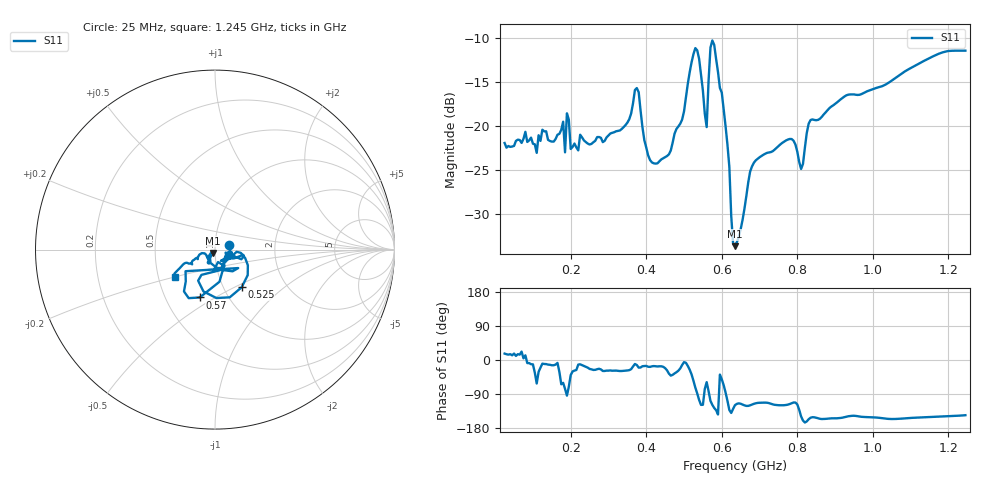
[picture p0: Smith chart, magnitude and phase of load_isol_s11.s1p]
!Created with skrf (http://scikit-rf.org).
# Hz S RI R 50.0
!freq ReS11 ImS11
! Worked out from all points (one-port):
!   245 points, 25 MHz to 1.245 GHz, reference 50 ohm
!   lowest |S11| = -33.6 dB at 635 MHz (marker M1), VSWR 1.04, Z = 49 - j1.79 ohm
!   |S11| at or under -10 dB: start of sweep to end of sweep
!   S11 on the Smith chart (normalised r, x): 25 MHz: 1.17, +0.05; 525 MHz: 1.21, -0.55; 570 MHz: 0.74, -0.43; 1.245 GHz: 0.61, -0.20
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2.5e7  0.077 0.0234
1.1e8  0.0332 -0.0624
1.8e8  0.0526 -0.0923
1.85e8  0.0169 -0.0692
1.9e8  -0.00829 -0.1183
2e8  0.0571 -0.0476
3.3e8  0.0828 -0.0461
3.75e8  0.1606 -0.0377
4.15e8  0.0598 -0.0179
4.85e8  0.088 -0.0472
5.05e8  0.144 -0.0185
5.25e8  0.1483 -0.2103
5.45e8  -0.094 -0.1732
5.6e8  0.0518 -0.0844
5.7e8  -0.085 -0.2667
5.9e8  -0.1641 -0.1203
5.95e8  0.1292 -0.1029
6e8  0.0979 -0.121
6.2e8  -0.0394 -0.0438
6.3e8  -0.0135 -0.0167
6.35e8  -0.0102 -0.0182
6.85e8  -0.0269 -0.056
7.9e8  -0.0313 -0.0768
8.1e8  -0.0491 -0.0295
8.35e8  -0.0963 -0.0503
9.4e8  -0.1285 -0.081
1.095e9  -0.1886 -0.0953
1.245e9  -0.2222 -0.1518
